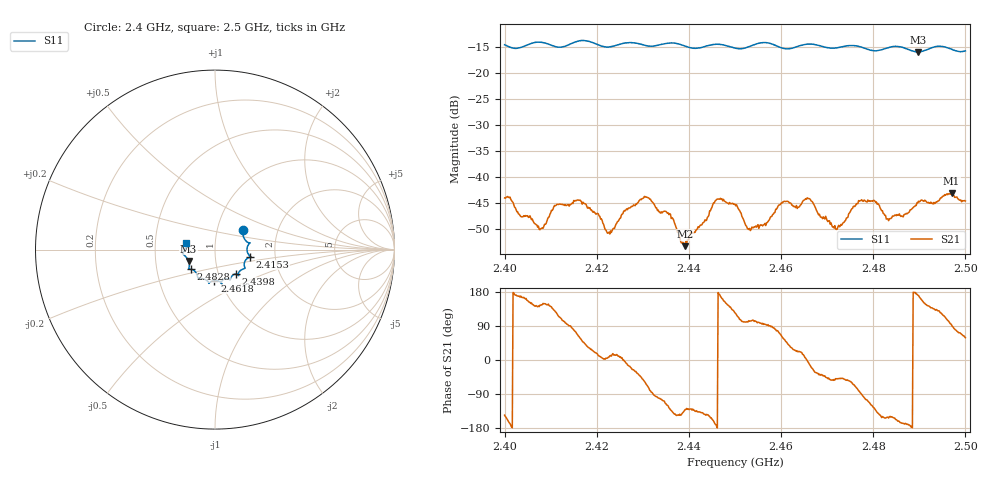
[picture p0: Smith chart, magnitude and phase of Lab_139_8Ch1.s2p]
# Hz S RI R 50
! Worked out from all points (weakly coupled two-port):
!   601 points, 2.4 GHz to 2.5 GHz, reference 50 ohm
!   highest |S21| = -43.16 dB at 2.497 GHz (marker M1); lowest = -53.4 dB at 2.4392 GHz (marker M2)
!   lowest |S11| = -15.9 dB at 2.4897 GHz (marker M3), VSWR 1.38, Z = 36.9 - j4.84 ohm
!   |S11| at or under -10 dB: start of sweep to end of sweep
!   S12 and S22 are empty: the file has one direction only
!   S11 on the Smith chart (normalised r, x): 2.4 GHz: 1.33, +0.29; 2.4153 GHz: 1.48, -0.12; 2.4398 GHz: 1.21, -0.34; 2.4618 GHz: 0.94, -0.33; 2.4828 GHz: 0.74, -0.17; 2.5 GHz: 0.72, +0.06
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2.4e9  0.1553 0.1064  -0.00518 -0.00354  0 0  0 0
2.408e9  0.1952 0.0375  -0.00264 0.0018  0 0  0 0
2.411167e9  0.1794 0.0124  -0.00312 0.00432  0 0  0 0
2.415333e9  0.1965 -0.0392  0.00151 0.00573  0 0  0 0
2.416667e9  0.2022 -0.0433  0.00346 0.00466  0 0  0 0
2.422667e9  0.164 -0.0723  0.00291 0.000397  0 0  0 0
2.43e9  0.1531 -0.1098  0.00391 -0.00481  0 0  0 0
2.433333e9  0.1298 -0.1338  -0.000852 -0.00471  0 0  0 0
2.439167e9  0.1212 -0.1366  -0.0014 -0.00163  0 0  0 0
2.439833e9  0.1156 -0.1361  -0.00155 -0.00192  0 0  0 0
2.445833e9  0.0841 -0.1706  -0.00585 -0.000992  0 0  0 0
2.45e9  0.0651 -0.1623  -0.00305 0.00449  0 0  0 0
2.453167e9  0.0374 -0.1776  -0.000674 0.00311  0 0  0 0
2.461833e9  -0.00357 -0.1726  0.00442 0.00344  0 0  0 0
2.466667e9  -0.0345 -0.1878  0.00543 -0.00209  0 0  0 0
2.471667e9  -0.0662 -0.1617  0.00204 -0.0027  0 0  0 0
2.477333e9  -0.097 -0.1507  0.000183 -0.00593  0 0  0 0
2.482833e9  -0.1361 -0.1086  -0.00347 -0.00183  0 0  0 0
2.483333e9  -0.14 -0.1086  -0.00338 -0.00171  0 0  0 0
2.489667e9  -0.1471 -0.0639  -0.00558 0.000871  0 0  0 0
2.497e9  -0.1702 -0.00736  -0.000308 0.00694  0 0  0 0
2.5e9  -0.1597 0.0388  0.00304 0.00501  0 0  0 0
